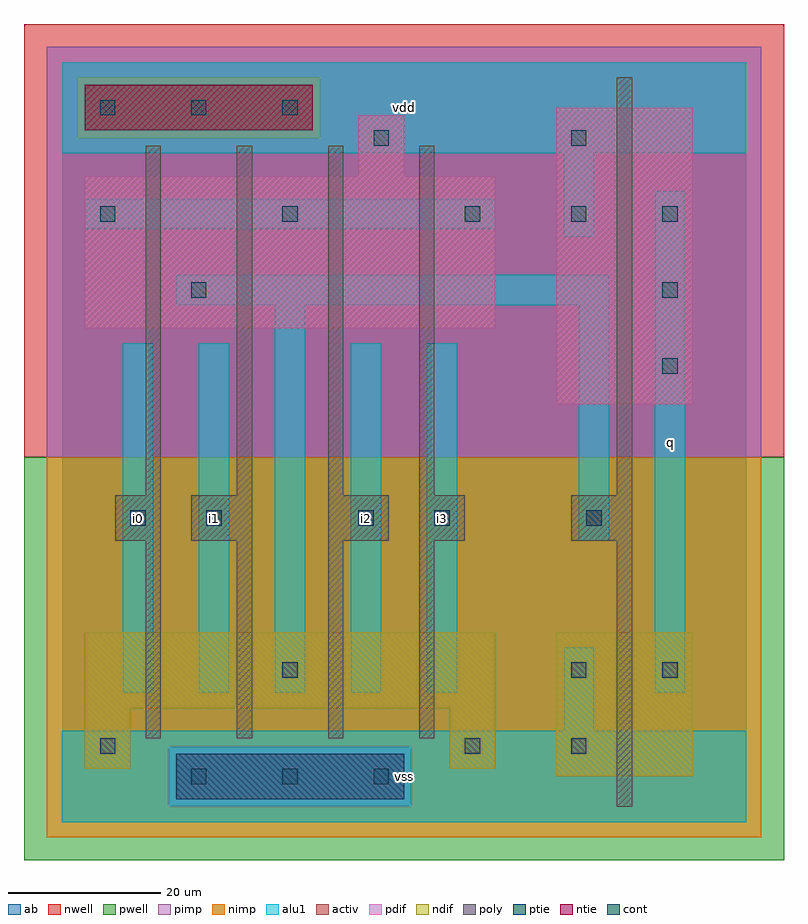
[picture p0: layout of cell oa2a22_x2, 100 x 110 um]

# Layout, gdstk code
import gdstk
lib = gdstk.Library(unit=1e-6, precision=1e-09)
def R(c, l, rs):  # rectangles x0, y0, x1, y1
    for r in rs: c.add(gdstk.rectangle(r[:2], r[2:], *l))
def A(c, l, x, y, w, h, nx, ny, dx, dy):  # array of equal rectangles
    R(c, l, [(x+i*dx, y+j*dy, x+i*dx+w, y+j*dy+h) for i in range(nx) for j in range(ny)])
ndif = (3, 0)
pdif = (4, 0)
ntie = (5, 0)
ptie = (6, 0)
cont = (25, 0)
pwell = (41, 0)
nwell = (42, 0)
activ = (43, 0)
pimp = (44, 0)
nimp = (45, 0)
poly = (46, 0)
alu1 = (49, 0)
ab = (63, 0)

oa2a22_x2 = lib.new_cell('oa2a22_x2')
R(oa2a22_x2, ndif, [(65,6,83,25), (3,7,9,15), (51,7,57,15), (3,15,57,25)])
R(oa2a22_x2, pdif, [(65,55,83,94), (3,65,57,85), (39,85,45,93)])
R(oa2a22_x2, ntie, [(3,91,33,97)])
R(oa2a22_x2, ptie, [(15,3,45,9)])
A(oa2a22_x2, cont, 17, 5, 2, 2, 3, 1, 12, 0)
A(oa2a22_x2, cont, 79, 59, 2, 2, 1, 3, 0, 10)
A(oa2a22_x2, cont, 5, 79, 2, 2, 3, 1, 24, 0)
A(oa2a22_x2, cont, 5, 93, 2, 2, 3, 1, 12, 0)
R(oa2a22_x2, cont, [(5,9,7,11), (53,9,55,11), (67,9,69,11), (29,19,31,21), (67,19,69,21), (79,19,81,21), (9,39,11,41), (19,39,21,41), (39,39,41,41), (49,39,51,41), (69,39,71,41), (17,69,19,71), (67,79,69,81), (41,89,43,91), (67,89,69,91)])
R(oa2a22_x2, pwell, [(-5,-5,95,48)])
R(oa2a22_x2, nwell, [(-5,48,95,105)])
R(oa2a22_x2, activ, [(15,3,45,9), (65,6,83,25), (3,7,9,15), (51,7,57,15), (3,15,57,25), (65,55,83,94), (3,65,57,85), (39,85,45,93), (3,91,33,97)])
R(oa2a22_x2, pimp, [(14,2,46,10), (-2,48,92,90), (-2,90,2,98), (34,90,92,98), (-2,98,92,102)])
R(oa2a22_x2, nimp, [(-2,-2,92,2), (-2,2,14,10), (46,2,92,10), (-2,10,92,48), (2,90,34,98)])
A(oa2a22_x2, poly, 11, 11, 2, 26, 4, 1, 12, 0)
A(oa2a22_x2, poly, 11, 43, 2, 46, 4, 1, 12, 0)
R(oa2a22_x2, poly, [(73,2,75,37), (7,37,13,43), (17,37,25,43), (35,37,43,43), (47,37,53,43), (67,37,75,43), (73,43,75,98)])
R(oa2a22_x2, alu1, [(0,0,90,12), (66,12,70,23), (8,17,12,63), (18,17,22,63), (28,17,32,68), (38,17,42,63), (48,17,52,63), (78,17,82,83), (68,37,72,68), (15,68,72,72), (66,77,70,88), (3,78,57,82), (0,88,90,100)])
R(oa2a22_x2, ab, [(0,0,90,100)])
oa2a22_x2.add(gdstk.Label('i0', (10,40), layer=49, texttype=0))
oa2a22_x2.add(gdstk.Label('i1', (20,40), layer=49, texttype=0))
oa2a22_x2.add(gdstk.Label('i2', (40,40), layer=49, texttype=0))
oa2a22_x2.add(gdstk.Label('vss', (45,6), layer=49, texttype=0))
oa2a22_x2.add(gdstk.Label('i3', (50,40), layer=49, texttype=0))
oa2a22_x2.add(gdstk.Label('vdd', (45,94), layer=49, texttype=0))
oa2a22_x2.add(gdstk.Label('q', (80,50), layer=49, texttype=0))

lib.write_gds('oa2a22_x2.gds')
